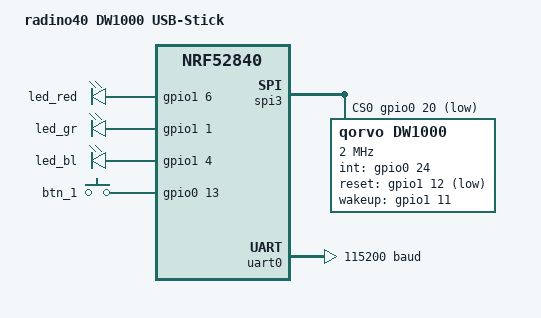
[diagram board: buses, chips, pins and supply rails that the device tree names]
/*
 * SPDX-License-Identifier: Apache-2.0
 */

/dts-v1/;

#include <nordic/nrf52840_qiaa.dtsi>
#include "radino40_usbstick-pinctrl.dtsi"

/ {
	model = "radino40 DW1000 USB-Stick";
	compatible = "in-circuit,radino40_usbstick";

	chosen {
		zephyr,sram = &sram0;
		zephyr,flash = &flash0;
		zephyr,console = &uart0;
		zephyr,shell-uart = &uart0;
	};

	aliases {
		led0 = &led_gr;
		led1 = &led_red;
		led2 = &led_bl;
		sw0 = &btn_1;
	};

	leds {
		compatible = "gpio-leds";

		led_red: led-red {
			gpios = <&gpio1 6 GPIO_ACTIVE_HIGH>;
		};

		led_gr: led-gr {
			gpios = <&gpio1 1 GPIO_ACTIVE_HIGH>;
		};

		led_bl: led-bl {
			gpios = <&gpio1 4 GPIO_ACTIVE_HIGH>;
		};
	};

	buttons {
		compatible = "gpio-keys";
		btn_1: button-1 {
			gpios = <&gpio0 13 (GPIO_PULL_DOWN | GPIO_ACTIVE_HIGH)>;
		};
	};
};

&spi3 {
	status = "okay";
	pinctrl-0 = <&spi3_default>;
	pinctrl-1 = <&spi3_sleep>;
	pinctrl-names = "default","sleep";
	cs-gpios = <&gpio0 20 GPIO_ACTIVE_LOW>;

	dw1000: dw1000@0 {
		reg = <0>;
		compatible = "qorvo,dw1000";
		spi-max-frequency = <2000000>;
		int-gpios = <&gpio0 24 GPIO_ACTIVE_HIGH>;
		reset-gpios = <&gpio1 12 GPIO_ACTIVE_LOW>;
		wakeup-gpios = <&gpio1 11 GPIO_ACTIVE_HIGH>;
	};
};

&uart0 {
	status = "okay";
	current-speed = <115200>;
	pinctrl-0 = <&uart0_default>;
	pinctrl-1 = <&uart0_sleep>;
	pinctrl-names = "default","sleep";
};

&gpiote {
	status = "okay";
};

&uicr {
	nfct-pins-as-gpios;
	gpio-as-nreset;
};

&gpio0 {
	status = "okay";
};

&gpio1 {
	status = "okay";
	// gpio-reserved-ranges = <1 5>;
};

// enable native USB if R3/R4 are mounted on the board
zephyr_udc0: &usbd {
	compatible = "nordic,nrf-usbd";
	status = "disabled";
	cdc_acm_uart0: cdc_acm_uart0 {
		compatible = "zephyr,cdc-acm-uart";
	};
};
